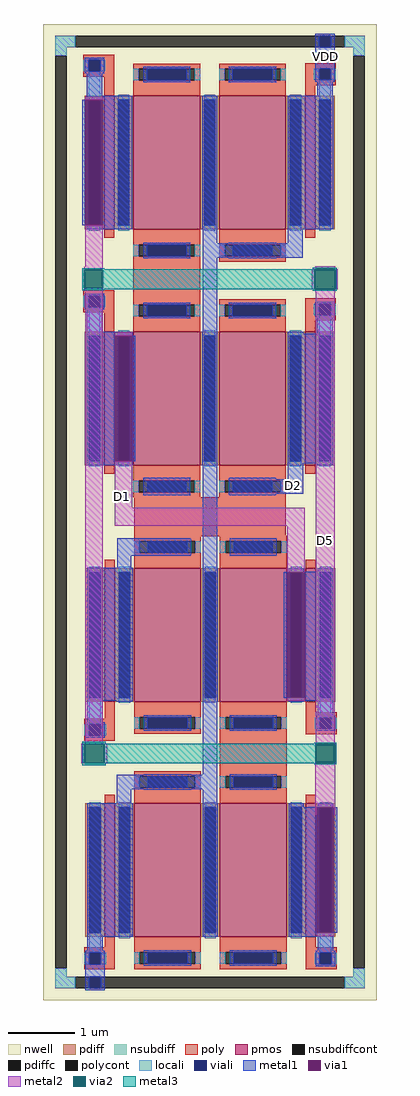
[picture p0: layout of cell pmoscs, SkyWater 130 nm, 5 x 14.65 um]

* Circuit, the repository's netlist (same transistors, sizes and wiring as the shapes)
** sch_path: /home/b_hidayat/opamp/mag/opamp1.sch
.subckt opamp1 vdd d5 d2 d1
*.PININFO vdd:B d5:B d2:B d1:B
XM1 d1 d2 vdd vdd sky130_fd_pr__pfet_01v8 L=1 W=2 nf=1 m=2
XM5 d5 d2 vdd vdd sky130_fd_pr__pfet_01v8 L=1 W=2 nf=1 m=2
XM2 d2 d2 vdd vdd sky130_fd_pr__pfet_01v8 L=1 W=2 nf=1 m=2
XM3 vdd vdd vdd vdd sky130_fd_pr__pfet_01v8 L=1 W=2 nf=1 m=2
XM4 vdd vdd vdd vdd sky130_fd_pr__pfet_01v8 L=0.15 W=2 nf=1 m=2
XM6 d2 d2 d2 vdd sky130_fd_pr__pfet_01v8 L=0.15 W=2 nf=1 m=2
XM7 d1 d1 d1 vdd sky130_fd_pr__pfet_01v8 L=0.15 W=2 nf=1 m=2
XM8 d5 d5 d5 vdd sky130_fd_pr__pfet_01v8 L=0.15 W=2 nf=1 m=2
.ends
.end

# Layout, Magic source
magic
tech sky130A
magscale 1 2
<< nwell >>
rect -178 -106 822 2824
<< nsubdiff >>
rect -142 2754 -82 2788
rect 726 2754 786 2788
rect -142 2728 -108 2754
rect 752 2728 786 2754
rect -142 -36 -108 -10
rect 752 -36 786 -10
rect -142 -70 -82 -36
rect 726 -70 786 -36
<< nsubdiffcont >>
rect -82 2754 726 2788
rect -142 -10 -108 2728
rect 752 -10 786 2728
rect -82 -70 726 -36
<< poly >>
rect -58 2716 34 2732
rect -58 2682 -42 2716
rect -8 2682 34 2716
rect -58 2666 34 2682
rect 4 2634 34 2666
rect 608 2690 700 2706
rect 608 2656 650 2690
rect 684 2656 700 2690
rect 608 2640 700 2656
rect 608 2634 638 2640
rect -58 2008 34 2024
rect -58 1974 -42 2008
rect -8 1974 34 2008
rect 92 1996 292 2112
rect -58 1958 34 1974
rect 4 1900 34 1958
rect 608 1984 700 2000
rect 608 1950 650 1984
rect 684 1950 700 1984
rect 608 1934 700 1950
rect 608 1900 638 1934
rect 94 1286 550 1404
rect 6 738 36 796
rect -56 722 36 738
rect -56 688 -40 722
rect -6 688 36 722
rect 610 758 640 790
rect 610 742 702 758
rect 610 708 652 742
rect 686 708 702 742
rect -56 672 36 688
rect 352 580 552 696
rect 610 692 702 708
rect 6 52 36 84
rect -56 37 36 52
rect -56 3 -40 37
rect -6 3 36 37
rect -56 -14 36 3
rect 610 52 640 84
rect 610 36 702 52
rect 610 2 652 36
rect 686 2 702 36
rect 610 -14 702 2
<< polycont >>
rect -42 2682 -8 2716
rect 650 2656 684 2690
rect -42 1974 -8 2008
rect 650 1950 684 1984
rect -40 688 -6 722
rect 652 708 686 742
rect -40 3 -6 37
rect 652 2 686 36
<< locali >>
rect -142 2754 -82 2788
rect 726 2754 786 2788
rect -142 2728 -108 2754
rect 752 2728 786 2754
rect -58 2682 -42 2716
rect -8 2682 8 2716
rect -42 2608 -8 2682
rect 634 2656 650 2690
rect 684 2656 700 2690
rect 650 2608 684 2656
rect -58 1974 -42 2008
rect -8 1974 8 2008
rect -42 1900 -8 1974
rect 634 1950 650 1984
rect 684 1950 700 1984
rect 650 1900 684 1950
rect -40 722 -6 796
rect 652 742 686 790
rect -56 688 -40 722
rect -6 688 10 722
rect 636 708 652 742
rect 686 708 702 742
rect -40 37 -6 84
rect 652 36 686 84
rect -56 2 -40 36
rect -6 2 10 36
rect 636 2 652 36
rect 686 2 702 36
rect -142 -36 -108 -10
rect 752 -36 786 -10
rect -142 -70 -82 -36
rect 726 -70 786 -36
<< viali >>
rect 650 2754 684 2788
rect -42 2682 -8 2716
rect 650 2656 684 2690
rect -42 1974 -8 2008
rect 650 1950 684 1984
rect -40 688 -6 722
rect 652 708 686 742
rect -40 3 -6 36
rect -40 2 -6 3
rect 652 2 686 36
rect -40 -70 -6 -36
<< metal1 >>
rect 638 2788 696 2794
rect 638 2754 650 2788
rect 684 2754 696 2788
rect -54 2716 4 2722
rect -54 2682 -42 2716
rect -8 2682 4 2716
rect -54 2676 4 2682
rect 638 2690 696 2754
rect -48 2608 -2 2676
rect 638 2656 650 2690
rect 684 2656 696 2690
rect 638 2650 696 2656
rect 644 2608 690 2650
rect -48 2596 88 2608
rect -62 2220 -52 2596
rect 0 2220 88 2596
rect -48 2208 88 2220
rect 300 2166 344 2608
rect 556 2208 692 2608
rect 556 2166 600 2208
rect 300 2122 600 2166
rect -54 2008 4 2014
rect -54 1974 -42 2008
rect -8 1974 4 2008
rect -54 1968 4 1974
rect -48 1900 -2 1968
rect -46 1888 90 1900
rect -46 1512 36 1888
rect 88 1512 98 1888
rect -46 1500 90 1512
rect 122 1410 262 1462
rect 44 1228 264 1280
rect 44 1192 86 1228
rect -46 792 90 1192
rect -46 728 0 792
rect -52 722 6 728
rect -52 688 -40 722
rect -6 688 6 722
rect -52 682 6 688
rect 300 570 344 2122
rect 638 1984 696 1990
rect 638 1950 650 1984
rect 684 1950 696 1984
rect 638 1944 696 1950
rect 644 1894 690 1944
rect 556 1506 692 1894
rect 380 1458 520 1462
rect 556 1458 602 1506
rect 380 1414 602 1458
rect 380 1410 520 1414
rect 382 1228 522 1280
rect 554 1178 690 1180
rect 544 802 554 1178
rect 606 802 690 1178
rect 554 792 690 802
rect 646 748 692 790
rect 640 742 698 748
rect 640 708 652 742
rect 686 708 698 742
rect 640 702 698 708
rect 42 526 344 570
rect 42 484 86 526
rect -46 84 90 484
rect 300 84 344 526
rect 558 96 642 472
rect 694 96 704 472
rect 558 84 694 96
rect -46 42 0 84
rect 646 42 692 84
rect -52 36 6 42
rect -52 2 -40 36
rect -6 2 6 36
rect -52 -36 6 2
rect 640 36 698 42
rect 640 2 652 36
rect 686 2 698 36
rect 640 -4 698 2
rect -52 -70 -40 -36
rect -6 -70 6 -36
rect -52 -76 6 -70
<< via1 >>
rect -52 2220 0 2596
rect 36 1512 88 1888
rect 554 802 606 1178
rect 642 96 694 472
<< metal2 >>
rect -52 2596 0 2606
rect -52 2095 0 2220
rect -56 2086 0 2095
rect 638 2088 698 2097
rect -56 2021 0 2030
rect 627 2028 636 2088
rect 698 2028 705 2088
rect -52 664 0 2021
rect 638 2019 698 2028
rect 36 1888 88 1898
rect 36 1372 88 1512
rect 36 1318 606 1372
rect 554 1178 606 1318
rect 554 792 606 802
rect 639 664 697 2019
rect -65 604 -56 664
rect 4 604 13 664
rect 638 662 698 664
rect 638 606 640 662
rect 696 606 698 662
rect 638 472 698 606
rect 638 450 642 472
rect 694 450 698 472
rect 642 86 694 96
<< via2 >>
rect -56 2030 0 2086
rect 636 2028 698 2088
rect -56 604 4 664
rect 640 606 696 662
<< metal3 >>
rect -61 2088 5 2091
rect 631 2088 703 2093
rect -61 2086 636 2088
rect -61 2030 -56 2086
rect 0 2030 636 2086
rect -61 2028 636 2030
rect 698 2028 703 2088
rect -61 2025 5 2028
rect 631 2023 703 2028
rect -61 664 9 669
rect 635 664 701 667
rect -61 604 -56 664
rect 4 662 701 664
rect 4 606 640 662
rect 696 606 701 662
rect 4 604 701 606
rect -61 599 9 604
rect 635 601 701 604
use sky130_fd_pr__pfet_01v8_2ZH9AN  sky130_fd_pr__pfet_01v8_2ZH9AN_0
transform 1 0 623 0 1 2408
box -109 -262 109 262
use sky130_fd_pr__pfet_01v8_2ZH9AN  sky130_fd_pr__pfet_01v8_2ZH9AN_1
transform 1 0 623 0 1 1700
box -109 -262 109 262
use sky130_fd_pr__pfet_01v8_2ZH9AN  sky130_fd_pr__pfet_01v8_2ZH9AN_2
transform 1 0 625 0 1 990
box -109 -262 109 262
use sky130_fd_pr__pfet_01v8_2ZH9AN  sky130_fd_pr__pfet_01v8_2ZH9AN_3
transform 1 0 19 0 1 2408
box -109 -262 109 262
use sky130_fd_pr__pfet_01v8_2ZH9AN  sky130_fd_pr__pfet_01v8_2ZH9AN_4
transform 1 0 19 0 1 1700
box -109 -262 109 262
use sky130_fd_pr__pfet_01v8_2ZH9AN  sky130_fd_pr__pfet_01v8_2ZH9AN_5
transform 1 0 625 0 1 284
box -109 -262 109 262
use sky130_fd_pr__pfet_01v8_2ZH9AN  sky130_fd_pr__pfet_01v8_2ZH9AN_6
transform 1 0 21 0 1 990
box -109 -262 109 262
use sky130_fd_pr__pfet_01v8_2ZH9AN  sky130_fd_pr__pfet_01v8_2ZH9AN_7
transform 1 0 21 0 1 284
box -109 -262 109 262
use sky130_fd_pr__pfet_01v8_SDE6B7  sky130_fd_pr__pfet_01v8_SDE6B7_0
transform 1 0 321 0 1 2408
box -323 -300 323 300
use sky130_fd_pr__pfet_01v8_SDE6B7  sky130_fd_pr__pfet_01v8_SDE6B7_1
transform 1 0 321 0 1 1700
box -323 -300 323 300
use sky130_fd_pr__pfet_01v8_SDE6B7  sky130_fd_pr__pfet_01v8_SDE6B7_2
transform 1 0 323 0 1 990
box -323 -300 323 300
use sky130_fd_pr__pfet_01v8_SDE6B7  sky130_fd_pr__pfet_01v8_SDE6B7_3
transform 1 0 323 0 1 284
box -323 -300 323 300
<< labels >>
flabel metal1 668 2726 668 2726 0 FreeSans 800 0 0 0 VDD
port 4 nsew
flabel metal1 574 1440 574 1440 0 FreeSans 800 0 0 0 D2
port 6 nsew
flabel metal2 58 1406 58 1406 0 FreeSans 800 0 0 0 D1
port 7 nsew
flabel metal2 668 1272 668 1272 0 FreeSans 800 0 0 0 D5
port 9 nsew
<< end >>

# cell sky130_fd_pr__pfet_01v8_2ZH9AN: kit device sky130_fd_pr__pfet_01v8, w 2 l 0.15 m 1 nf 1 diffcov 100 polycov 100 guard 0 glc 1 grc 1 gtc 1 gbc 1 tbcov 100 rlcov 100 topc 0 botc 0 poverlap 0 doverlap 1 lmin 0.15 wmin 0.42 compatible {sky130_fd_pr__pfet_01v8 sky130_fd_pr__pfet_01v8_lvt sky130_fd_pr__pfet_01v8_hvt sky130_fd_pr__pfet_g5v0d10v5} full_metal 1 viasrc 100 viadrn 100 viagate 100 viagb 0 viagr 0 viagl 0 viagt 0

# cell sky130_fd_pr__pfet_01v8_SDE6B7: kit device sky130_fd_pr__pfet_01v8, w 2 l 1 m 1 nf 2 diffcov 100 polycov 100 guard 0 glc 1 grc 1 gtc 1 gbc 1 tbcov 100 rlcov 100 topc 1 botc 1 poverlap 0 doverlap 1 lmin 0.15 wmin 0.42 compatible {sky130_fd_pr__pfet_01v8 sky130_fd_pr__pfet_01v8_lvt sky130_fd_pr__pfet_01v8_hvt sky130_fd_pr__pfet_g5v0d10v5} full_metal 1 viasrc 100 viadrn 100 viagate 70 viagb 0 viagr 0 viagl 0 viagt 0
